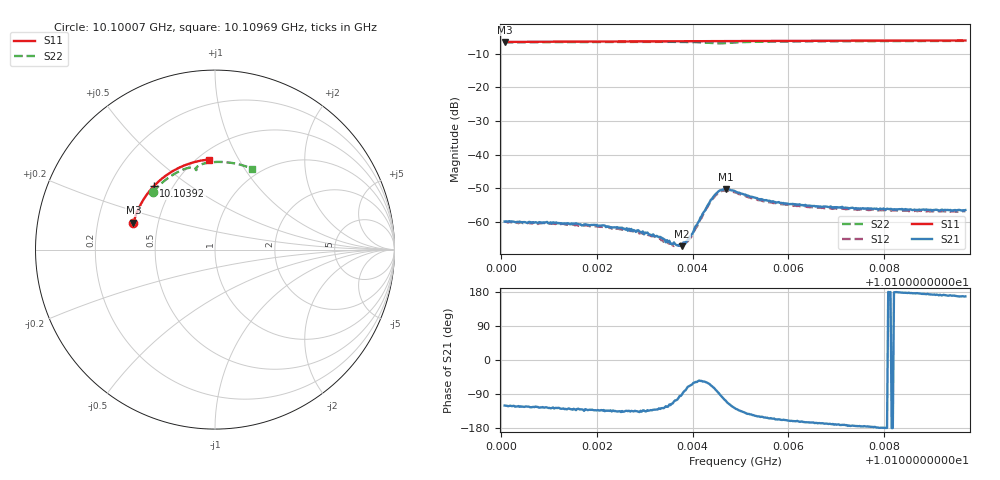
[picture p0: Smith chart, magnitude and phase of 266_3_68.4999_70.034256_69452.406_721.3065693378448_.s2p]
#  HZ  S  RI  R  50.00
! Rohde & Schwarz Vector Network Analyzer
! Rohde-Schwarz,ZNB20-2Port,1311601062101988,3.16
! Created: UTC 3/20/2024, 5:00:34 PM
! freq[Hz]  re:S11  im:S11  re:S21  im:S21  re:S12  im:S12  re:S22  im:S22
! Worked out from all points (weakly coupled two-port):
!   401 points, 10.10007 GHz to 10.10969 GHz, reference 50 ohm
!   highest |S21| = -50.36 dB at 10.10469 GHz (marker M1); lowest = -67.3 dB at 10.10378 GHz (marker M2)
!   lowest |S11| = -6.4 dB at 10.10007 GHz (marker M3), VSWR 2.84, Z = 18 + j7.02 ohm
!   |S11| at or under -10 dB: nowhere
!   |S22| runs from -6.8 to -6.1 dB; largest |S21 - S12| = 0.00032
!   S11 on the Smith chart (normalised r, x): 10.10007 GHz: 0.36, +0.14; 10.10392 GHz: 0.39, +0.37; 10.10969 GHz: 0.57, +0.76
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1.0100073e10  -0.4544 0.15  -0.000503 -0.000867  -0.000407 -0.000903  -0.3468 0.3192
1.0101131e10  -0.4336 0.211  -0.000566 -0.000769  -0.000505 -0.000767  -0.2992 0.3683
1.0101684e10  -0.4194 0.2416  -0.000568 -0.000665  -0.000517 -0.00069  -0.2716 0.3911
1.0102117e10  -0.4069 0.2647  -0.000603 -0.000638  -0.000517 -0.00065  -0.2486 0.4077
1.0102671e10  -0.389 0.2932  -0.000543 -0.000564  -0.000504 -0.00057  -0.2176 0.4266
1.0103296e10  -0.3665 0.3238  -0.000359 -0.000466  -0.000329 -0.000455  -0.1796 0.4449
1.0103633e10  -0.3533 0.3393  -0.000133 -0.000443  -0.000108 -0.00043  -0.1573 0.4529
1.0103729e10  -0.3494 0.3438  -3.61e-05 -0.000433  8.85e-06 -0.000437  -0.1505 0.4546
1.0103777e10  -0.3474 0.346  -5.11e-06 -0.00043  2.23e-05 -0.000443  -0.1472 0.4554
1.0103825e10  -0.3456 0.348  6.75e-05 -0.000484  9.59e-05 -0.000445  -0.1435 0.4562
1.0103921e10  -0.3415 0.3525  0.000207 -0.000544  0.000211 -0.000495  -0.1363 0.4572
1.0103994e10  -0.3385 0.3555  0.000293 -0.000588  0.000363 -0.000566  -0.1309 0.4577
1.0104282e10  -0.3262 0.368  0.000819 -0.00136  0.000911 -0.00126  -0.1092 0.4535
1.0104427e10  -0.3198 0.3739  0.000722 -0.0022  0.000859 -0.00204  -0.1033 0.4468
1.0104571e10  -0.3134 0.3799  -8.21e-05 -0.00292  0.000142 -0.00278  -0.105 0.4431
1.0104691e10  -0.3081 0.3845  -0.000906 -0.0029  -0.000647 -0.00285  -0.1071 0.4468
1.0104884e10  -0.2993 0.3922  -0.00173 -0.00226  -0.00147 -0.00228  -0.1024 0.4583
1.0105509e10  -0.2692 0.4153  -0.00182 -0.000985  -0.00167 -0.00112  -0.0619 0.479
1.0105966e10  -0.2462 0.4306  -0.00173 -0.000658  -0.00161 -0.000771  -0.0312 0.4851
1.0106495e10  -0.2185 0.4468  -0.00165 -0.000446  -0.00154 -0.000557  0.00398 0.4882
1.0108107e10  -0.1285 0.4838  -0.00153 3.73e-05  -0.00143 -0.000149  0.1076 0.4805
1.0109695e10  -0.0342 0.5018  -0.00145 0.000312  -0.00142 0.000155  0.2045 0.4513
